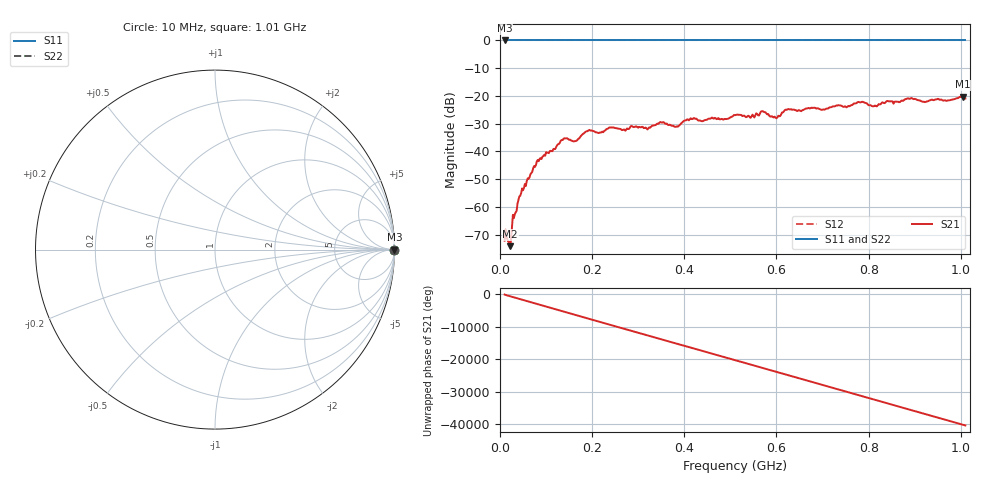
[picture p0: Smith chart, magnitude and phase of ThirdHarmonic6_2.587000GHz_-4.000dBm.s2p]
! 8/17/2025 5:30:50 AM
! C:\ANRITSUVNA\TEMP\TEMP.S2P
! CHANNEL.1
! TR.MEASUREMENT
! RAW.DATA
! RF.CORRECTION.OFF
! AVERAGING.OFF
! IF.BANDWIDTH: 5KHZ
! SWEEPTYPE:  FREQ.SWEEP(Linear)
! Reference Plane Port Info
! PORT:  PORT1  PORT2
! DISTANCE:  0  m  0  m
! TIME:  0  s  0  s
! PHASE.OFFSET:  0  deg.  0  deg.
! LOSS:  0  dB  0  dB
! REF.LOSS:  0  dB  0  dB
! REF.FREQ:  0  Hz  0  Hz
! Power Info
! POWER:  -20  dBm  -20  dBm
! EFF.POWER:  -20  dBm  -20  dBm
! SOURCE.ATTEN:  0  dB  0  dB
! TEST.ATTEN:  0  dB  0  dB
# GHZ S RI R 50.0
! FREQ.GHZ  S11RE  S11IM  S21RE  S21IM  S12RE  S12IM  S22RE  S22IM
!; PortSelection: Port_12
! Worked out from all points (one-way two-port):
!   501 points, 10 MHz to 1.01 GHz, reference 50 ohm
!   highest |S21| = -20.30 dB at 1.004 GHz (marker M1); lowest = -74.1 dB at 22 MHz (marker M2)
!   lowest |S11| = 0.0 dB at 10 MHz (marker M3)
!   |S11| at or under -10 dB: nowhere
!   |S22| runs from 0.0 to 0.0 dB; largest |S21 - S12| = 1.1
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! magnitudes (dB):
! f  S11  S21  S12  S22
! 10 MHz  0.0  -72.2  0.0  0.0
! 22 MHz  0.0  -74.1  0.0  0.0
! 30 MHz  0.0  -64.1  0.0  0.0
! 44 MHz  0.0  -56.0  0.0  0.0
! 78 MHz  0.0  -44.9  0.0  0.0
! 136 MHz  0.0  -35.9  0.0  0.0
! 162 MHz  0.0  -36.3  0.0  0.0
! 178 MHz  0.0  -34.0  0.0  0.0
! 344 MHz  0.0  -30.1  0.0  0.0
! 382 MHz  0.0  -31.1  0.0  0.0
! 418 MHz  0.0  -28.3  0.0  0.0
! 510 MHz  0.0  -26.9  0.0  0.0
! 548 MHz  0.0  -26.7  0.0  0.0
! 570 MHz  0.0  -25.5  0.0  0.0
! 598 MHz  0.0  -27.8  0.0  0.0
! 622 MHz  0.0  -25.0  0.0  0.0
! 678 MHz  0.0  -24.3  0.0  0.0
! 782 MHz  0.0  -22.3  0.0  0.0
! 814 MHz  0.0  -23.5  0.0  0.0
! 844 MHz  0.0  -21.9  0.0  0.0
! 1.004 GHz  0.0  -20.3  0.0  0.0
! 1.01 GHz  0.0  -20.9  0.0  0.0
